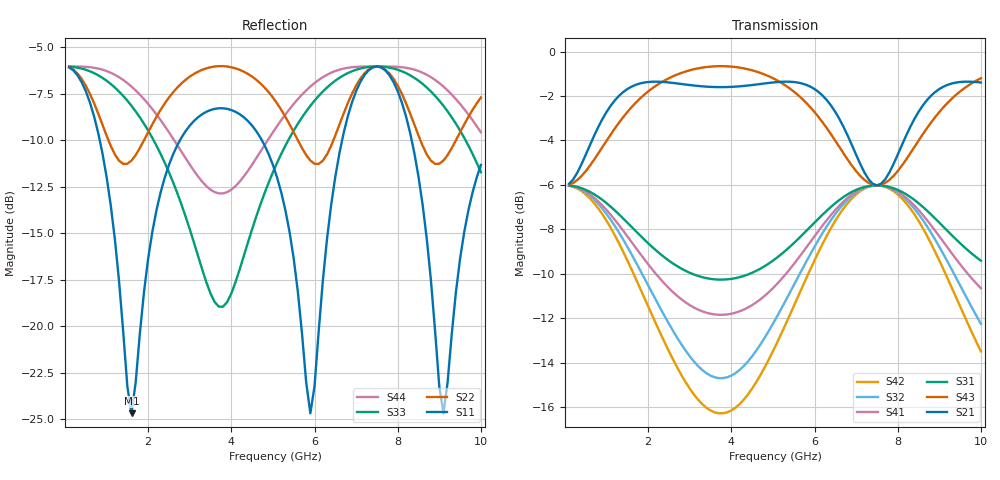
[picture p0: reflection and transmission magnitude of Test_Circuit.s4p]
! AWR Design Environment (17559) Sat May 24 15:58:22 2025
! Document = 'Schematic 1'
! nPorts: 4, nXvals: 100
# GHz S DB R 50
!Freq DBS11 AngS11 DBS12 AngS12 DBS13 AngS13 DBS14 AngS14
!	DBS21 AngS21 DBS22 AngS22 DBS23 AngS23 DBS24 AngS24
!	DBS31 AngS31 DBS32 AngS32 DBS33 AngS33 DBS34 AngS34
!	DBS41 AngS41 DBS42 AngS42 DBS43 AngS43 DBS44 AngS44
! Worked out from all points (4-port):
!   100 points, 100 MHz to 10 GHz, reference 50 ohm
!   strongest paths, dB at 100 MHz, 2.6 GHz, 5.1 GHz, 7.6 GHz, 10 GHz:
!     S21: -6.0, -1.4, -1.4, -6.0, -1.4
!     S43: -6.0, -1.1, -1.3, -6.0, -1.2
!     S31: -6.0, -9.5, -9.3, -6.0, -9.4
!     S41: -6.0, -10.8, -10.5, -6.0, -10.6
!     S32: -6.0, -12.6, -11.9, -6.0, -12.3
!     S42: -6.0, -13.9, -13.1, -6.0, -13.5
!   lowest |S11| = -24.7 dB at 1.6 GHz (marker M1), VSWR 1.12, Z = 44.5 + j0.418 ohm
!   |S11| at or under -10 dB: 836.7 MHz to 2.764 GHz (1.928 GHz wide, 107 % of centre); 4.736 GHz to 6.663 GHz (1.928 GHz wide, 33.8 % of centre); 8.337 GHz to end of sweep
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0.1  -6.07 174.1  -5.95 1.6  -6.03 -6.1  -6.03 -9.0
     -5.95 1.6  -6.06 177.0  -6.03 -4.6  -6.04 -7.5
     -6.03 -6.1  -6.03 -4.6  -6.03 177.0  -5.99 0.2
     -6.03 -9.0  -6.04 -7.5  -5.99 0.2  -6.02 171.2
1.6  -24.69 175.4  -1.58 -27.9  -7.89 -91.0  -8.57 -134.6
     -1.58 -27.9  -11.09 -173.5  -9.12 -65.6  -9.80 -109.2
     -7.89 -91.0  -9.12 -65.6  -8.14 129.3  -2.51 -21.6
     -8.57 -134.6  -9.80 -109.2  -2.51 -21.6  -7.10 56.9
4.1  -8.46 170.5  -1.58 -98.9  -10.20 166.8  -11.75 69.7
     -1.58 -98.9  -6.12 174.9  -14.47 -89.4  -16.03 173.6
     -10.20 166.8  -14.47 -89.4  -17.64 -40.1  -0.70 -101.4
     -11.75 69.7  -16.03 173.6  -0.70 -101.4  -12.46 0.3
5.9  -24.69 -175.4  -1.58 -152.1  -7.89 91.0  -8.57 -45.4
     -1.58 -152.1  -11.09 173.5  -9.12 -114.4  -9.80 109.2
     -7.89 91.0  -9.12 -114.4  -8.14 -129.3  -2.51 -158.4
     -8.57 -45.4  -9.80 109.2  -2.51 -158.4  -7.10 -56.9
7.5  -6.02 -180.0  -6.02 180.0  -6.02 0.0  -6.02 -180.0
     -6.02 180.0  -6.02 -180.0  -6.02 -180.0  -6.02 0.0
     -6.02 0.0  -6.02 -180.0  -6.02 -180.0  -6.02 180.0
     -6.02 -180.0  -6.02 0.0  -6.02 180.0  -6.02 -180.0
9.1  -24.69 175.4  -1.58 152.1  -7.89 -91.0  -8.57 45.4
     -1.58 152.1  -11.09 -173.5  -9.12 114.4  -9.80 -109.2
     -7.89 -91.0  -9.12 114.4  -8.14 129.3  -2.51 158.4
     -8.57 45.4  -9.80 -109.2  -2.51 158.4  -7.10 56.9
10  -11.32 -145.9  -1.39 123.2  -9.41 -131.4  -10.65 -15.8
    -1.39 123.2  -7.69 -164.0  -12.25 94.7  -13.49 -149.7
    -9.41 -131.4  -12.25 94.7  -11.71 96.5  -1.20 130.6
    -10.65 -15.8  -13.49 -149.7  -1.20 130.6  -9.56 15.7
